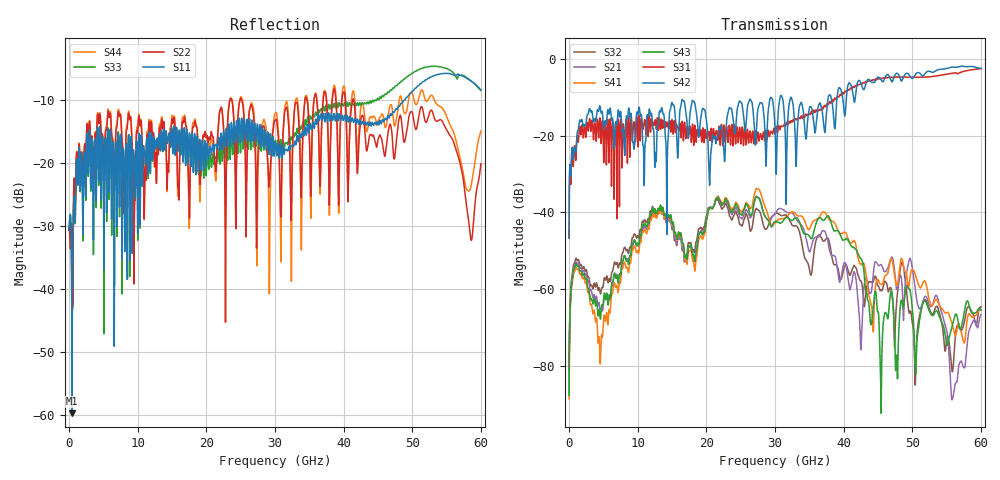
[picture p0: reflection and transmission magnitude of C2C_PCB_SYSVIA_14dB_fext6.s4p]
!$Gore$
!C2C PCB Topology at Nominal
!Tuned Ballou BGA and Tuned Mayfield BOR
!Created with Channel Assembly Tool v1.0.4
# Hz S RI R 50
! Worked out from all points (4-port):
!   6000 points, 10 MHz to 60 GHz, reference 50 ohm
!   strongest paths, dB at 10 MHz, 15.01 GHz, 30.01 GHz, 45.01 GHz, 60 GHz:
!     S42: -46.7, -11.4, -18.1, -4.7, -2.5
!     S31: -46.6, -15.9, -19.7, -5.1, -2.6
!     S43: -87.7, -42.9, -42.5, -65.9, -65.4
!     S41: -88.6, -43.4, -42.8, -57.5, -65.4
!     S21: -87.3, -44.2, -40.3, -53.8, -66.6
!     S32: -86.4, -44.5, -40.4, -59.1, -64.6
!   lowest |S11| = -59.7 dB at 440 MHz (marker M1), VSWR 1.00, Z = 50 - j0.1 ohm
!   |S11| at or under -10 dB: start of sweep to 48.84 GHz
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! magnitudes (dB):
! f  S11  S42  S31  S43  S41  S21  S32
! 10 MHz  -30.6  -46.7  -46.6  -87.7  -88.6  -87.3  -86.4
! 440 MHz  -59.7  -23.0  -23.3  -57.7  -58.6  -57.3  -56.4
! 4.5 GHz  -14.2  -12.3  -15.4  -67.0  -77.8  -65.7  -60.7
! 27.47 GHz  -13.9  -13.7  -19.1  -36.1  -33.9  -36.0  -39.3
! 42.47 GHz  -13.6  -6.1  -6.4  -52.0  -53.4  -74.9  -57.8
! 45.46 GHz  -13.7  -5.5  -5.0  -92.1  -58.8  -53.6  -60.2
! 60 GHz  -8.4  -2.5  -2.6  -65.4  -65.4  -66.6  -64.6
